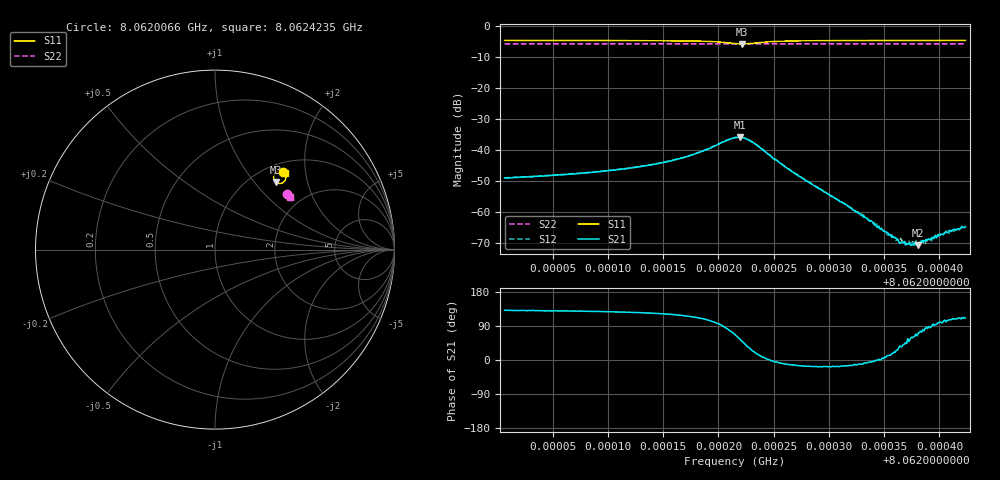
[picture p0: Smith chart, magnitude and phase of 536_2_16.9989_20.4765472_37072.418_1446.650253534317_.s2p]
#  HZ  S  RI  R  50.00
! Rohde & Schwarz Vector Network Analyzer
! Rohde-Schwarz,ZNB20-2Port,1311601062101988,3.16
! Created: UTC 3/20/2024, 11:16:06 PM
! freq[Hz]  re:S11  im:S11  re:S21  im:S21  re:S12  im:S12  re:S22  im:S22
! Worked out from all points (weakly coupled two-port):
!   401 points, 8.0620066 GHz to 8.0624235 GHz, reference 50 ohm
!   highest |S21| = -35.92 dB at 8.0622192 GHz (marker M1); lowest = -70.7 dB at 8.0623807 GHz (marker M2)
!   lowest |S11| = -5.9 dB at 8.0622213 GHz (marker M3), VSWR 3.05, Z = 64.1 + j65 ohm
!   |S11| at or under -10 dB: nowhere
!   |S22| runs from -5.9 to -5.9 dB; largest |S21 - S12| = 0.0011
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8.06200661e9  0.3774 0.4351  -0.00233 0.00266  -0.00216 0.0028  0.403 0.3109
8.06207643e9  0.3834 0.4294  -0.00264 0.00327  -0.00246 0.00344  0.4057 0.3073
8.06211395e9  0.387 0.4247  -0.00291 0.00394  -0.0027 0.00415  0.4071 0.3054
8.06214626e9  0.3909 0.4184  -0.00326 0.0051  -0.00296 0.00533  0.4082 0.3035
8.06217648e9  0.3945 0.4059  -0.00336 0.00759  -0.00292 0.00784  0.4091 0.3014
8.06220045e9  0.3879 0.3821  -0.00116 0.0123  -0.000296 0.0125  0.4095 0.2993
8.06221504e9  0.3573 0.3684  0.00623 0.0144  0.00705 0.0142  0.4081 0.2985
8.06221921e9  0.3442 0.3726  0.00904 0.0132  0.00984 0.0127  0.4078 0.2986
8.06222129e9  0.3384 0.3767  0.0102 0.0121  0.0109 0.0116  0.4077 0.2989
8.06222754e9  0.3276 0.3944  0.012 0.00785  0.0128 0.00714  0.4079 0.2995
8.0622338e9  0.3282 0.4117  0.0116 0.00383  0.012 0.00324  0.4082 0.3
8.06226089e9  0.3559 0.4358  0.00515 -0.000989  0.00511 -0.0013  0.4107 0.2994
8.06228486e9  0.3686 0.4354  0.00265 -0.000825  0.00264 -0.000984  0.4121 0.2979
8.06233176e9  0.3797 0.431  0.000807 -0.000112  0.000842 -0.00021  0.414 0.2952
8.06235469e9  0.3828 0.4292  0.000415 9.07e-05  0.000426 5.02e-05  0.4149 0.294
8.06236511e9  0.3841 0.4284  0.000267 0.000184  0.000314 0.000207  0.4153 0.2936
8.0623724e9  0.385 0.4279  0.00021 0.00024  0.000213 0.000265  0.4156 0.2932
8.06238074e9  0.3858 0.4273  9.7e-05 0.000274  0.000117 0.000257  0.4157 0.2928
8.06238804e9  0.3865 0.4266  2.61e-05 0.000363  5.45e-05 0.000343  0.4161 0.2923
8.06240158e9  0.3877 0.4258  -6.81e-05 0.000431  -3.57e-05 0.000444  0.4165 0.2916
8.06241096e9  0.3886 0.4251  -0.000144 0.000472  -0.000105 0.000481  0.417 0.2912
8.06242347e9  0.3897 0.4243  -0.0002 0.000533  -0.000186 0.000576  0.4173 0.2905
